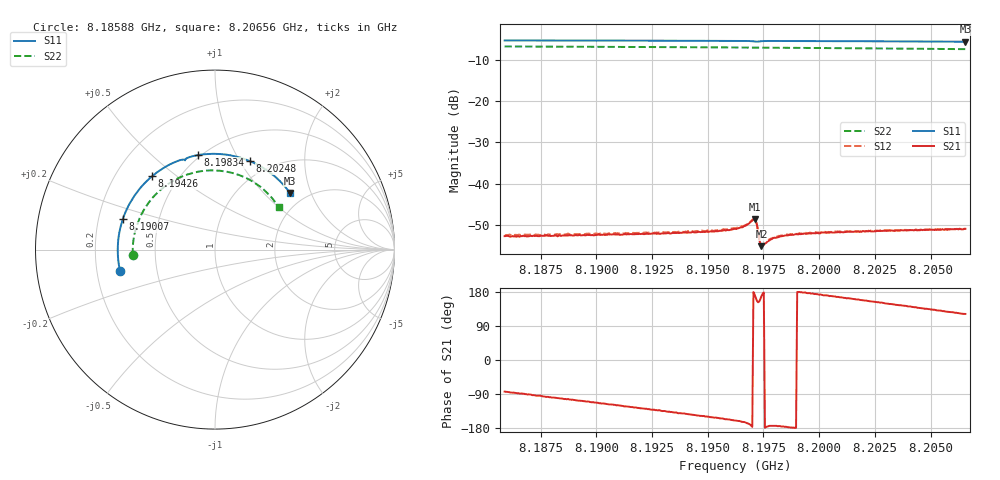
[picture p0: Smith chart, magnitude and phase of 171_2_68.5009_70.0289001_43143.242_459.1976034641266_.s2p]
#  HZ  S  RI  R  50.00
! Rohde & Schwarz Vector Network Analyzer
! Rohde-Schwarz,ZNB20-2Port,1311601062101988,3.16
! Created: UTC 3/20/2024, 4:56:12 PM
! freq[Hz]  re:S11  im:S11  re:S21  im:S21  re:S12  im:S12  re:S22  im:S22
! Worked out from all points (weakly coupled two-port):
!   401 points, 8.18588 GHz to 8.20656 GHz, reference 50 ohm
!   highest |S21| = -48.60 dB at 8.1971 GHz (marker M1); lowest = -55.1 dB at 8.19741 GHz (marker M2)
!   lowest |S11| = -5.6 dB at 8.20656 GHz (marker M3), VSWR 3.20, Z = 82.8 + j72 ohm
!   |S11| at or under -10 dB: nowhere
!   |S22| runs from -7.4 to -6.8 dB; largest |S21 - S12| = 0.00018
!   S11 on the Smith chart (normalised r, x): 8.18588 GHz: 0.30, -0.10; 8.19007 GHz: 0.30, +0.15; 8.19426 GHz: 0.36, +0.41; 8.19834 GHz: 0.48, +0.72; 8.20248 GHz: 0.81, +1.10; 8.20656 GHz: 1.66, +1.44
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8.185881e9  -0.5292 -0.1196  0.000266 -0.00231  0.000265 -0.00238  -0.4582 -0.0307
8.187639e9  -0.542 0.00247  -0.000251 -0.00234  -0.000285 -0.00241  -0.4524 0.0664
8.189345e9  -0.5276 0.1206  -0.000723 -0.00226  -0.000836 -0.0023  -0.4273 0.1574
8.190069e9  -0.5137 0.1696  -0.000937 -0.00223  -0.00103 -0.00225  -0.411 0.1941
8.192809e9  -0.4211 0.3372  -0.00168 -0.00184  -0.00182 -0.00182  -0.3217 0.3163
8.194257e9  -0.3498 0.4095  -0.00209 -0.00152  -0.00216 -0.00149  -0.259 0.3667
8.195239e9  -0.2937 0.4505  -0.00233 -0.00125  -0.0024 -0.0012  -0.2118 0.3943
8.196222e9  -0.2322 0.4838  -0.00268 -0.000993  -0.00276 -0.000893  -0.1611 0.4159
8.196635e9  -0.2042 0.4953  -0.00295 -0.000863  -0.00304 -0.000728  -0.1391 0.4233
8.196997e9  -0.1767 0.5015  -0.00359 -0.000227  -0.00364 -0.000103  -0.1194 0.4284
8.197101e9  -0.169 0.4999  -0.00369 0.000471  -0.00371 0.00063  -0.1138 0.4297
8.197152e9  -0.1668 0.498  -0.00348 0.000948  -0.00349 0.00109  -0.1108 0.4301
8.197359e9  -0.1635 0.5043  -0.00174 0.000609  -0.00179 0.000702  -0.0998 0.4327
8.197411e9  -0.1604 0.5071  -0.00173 0.000341  -0.00176 0.000436  -0.0971 0.4334
8.197514e9  -0.153 0.5113  -0.00182 5.54e-05  -0.00183 0.000108  -0.0913 0.4345
8.197876e9  -0.1266 0.5199  -0.00213 -0.000244  -0.00218 -0.000161  -0.071 0.4376
8.198341e9  -0.0933 0.5267  -0.00232 -0.000189  -0.00236 -7.43e-05  -0.0448 0.4402
8.199686e9  0.00186 0.5335  -0.00252 0.000199  -0.00255 0.000329  0.0312 0.4389
8.202478e9  0.1941 0.4933  -0.00238 0.00118  -0.00235 0.00129  0.1828 0.3942
8.20315e9  0.2371 0.4731  -0.0023 0.00145  -0.00226 0.00156  0.2165 0.3751
8.204959e9  0.3422 0.3999  -0.00195 0.00201  -0.00186 0.00207  0.2978 0.3093
8.206562e9  0.418 0.3153  -0.00149 0.00243  -0.00141 0.00248  0.3553 0.2353
